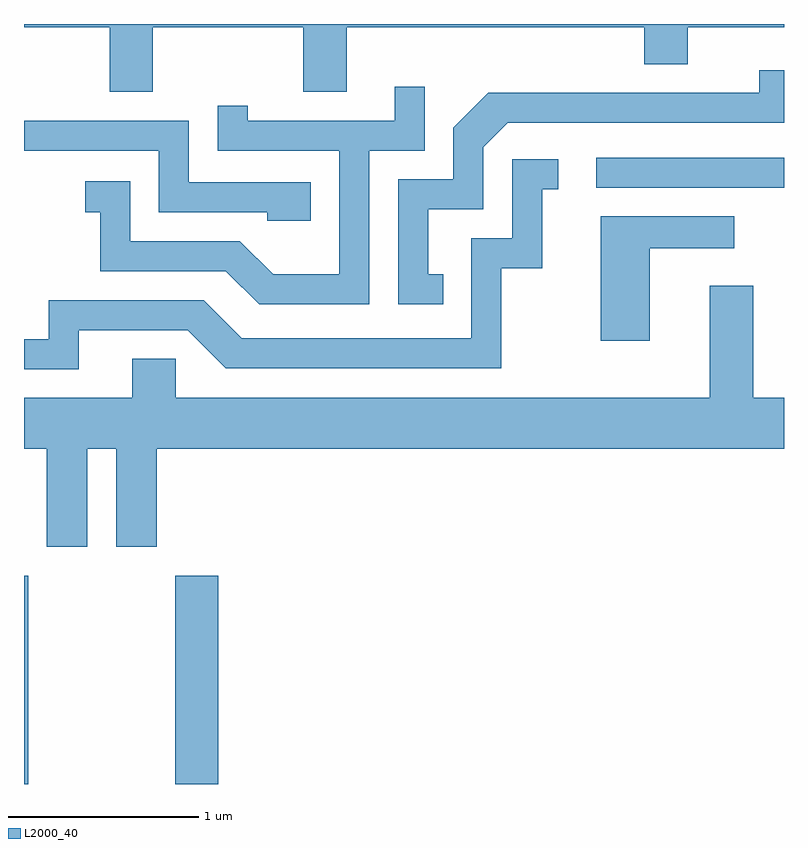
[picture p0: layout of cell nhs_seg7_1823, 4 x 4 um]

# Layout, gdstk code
import gdstk
lib = gdstk.Library(unit=1e-6, precision=1e-09)
def R(c, l, rs):  # rectangles x0, y0, x1, y1
    for r in rs: c.add(gdstk.rectangle(r[:2], r[2:], *l))
def P(c, l, *ps):  # polygons
    for p in ps: c.add(gdstk.Polygon(p, *l))
L2000_40 = (2000, 40)

nhs_seg7_1823 = lib.new_cell('nhs_seg7_1823')
R(nhs_seg7_1823, L2000_40, [(239.611,1790.252,239.634,1791.349), (240.406,1790.252,240.634,1791.349), (242.623,1793.391,243.611,1793.549)])
P(nhs_seg7_1823, L2000_40, [(240.289,1794.236),(241.081,1794.236),(241.081,1793.896),(241.309,1793.896),(241.309,1794.236),(242.876,1794.236),(242.876,1794.041),(243.104,1794.041),(243.104,1794.236),(243.611,1794.236),(243.611,1794.252),(239.611,1794.252),(239.611,1794.236),(240.061,1794.236),(240.061,1793.896),(240.289,1793.896)],
  [(241.818,1792.934),(241.739,1792.934),(241.739,1793.276),(242.029,1793.276),(242.029,1793.604),(242.157,1793.731),(243.611,1793.731),(243.611,1794.009),(243.481,1794.009),(243.481,1793.889),(242.054,1793.889),(241.871,1793.707),(241.871,1793.434),(241.581,1793.434),(241.581,1792.776),(241.818,1792.776)],
  [(241.429,1793.586),(241.719,1793.586),(241.719,1793.923),(241.561,1793.923),(241.561,1793.744),(240.789,1793.744),(240.789,1793.823),(240.631,1793.823),(240.631,1793.586),(241.271,1793.586),(241.271,1792.934),(240.922,1792.934),(240.747,1793.109),(240.169,1793.109),(240.169,1793.424),(239.933,1793.424),(239.933,1793.261),(240.011,1793.261),(240.011,1792.951),(240.674,1792.951),(240.849,1792.776),(241.429,1792.776)],
  [(241.119,1793.419),(240.479,1793.419),(240.479,1793.744),(239.611,1793.744),(239.611,1793.586),(240.321,1793.586),(240.321,1793.261),(240.891,1793.261),(240.891,1793.216),(241.119,1793.216)],
  [(239.899,1792.641),(240.474,1792.641),(240.674,1792.441),(242.124,1792.441),(242.124,1792.966),(242.339,1792.966),(242.339,1793.381),(242.423,1793.381),(242.423,1793.539),(242.181,1793.539),(242.181,1793.124),(241.966,1793.124),(241.966,1792.599),(240.757,1792.599),(240.557,1792.799),(239.741,1792.799),(239.741,1792.594),(239.611,1792.594),(239.611,1792.436),(239.899,1792.436)],
  [(242.904,1793.071),(243.348,1793.071),(243.348,1793.239),(242.646,1793.239),(242.646,1792.586),(242.904,1792.586)],
  [(239.944,1792.016),(240.096,1792.016),(240.096,1791.501),(240.309,1791.501),(240.309,1792.016),(243.611,1792.016),(243.611,1792.284),(243.449,1792.284),(243.449,1792.874),(243.221,1792.874),(243.221,1792.284),(240.409,1792.284),(240.409,1792.489),(240.181,1792.489),(240.181,1792.284),(239.611,1792.284),(239.611,1792.016),(239.731,1792.016),(239.731,1791.501),(239.944,1791.501)])

lib.write_gds('nhs_seg7_1823.gds')
